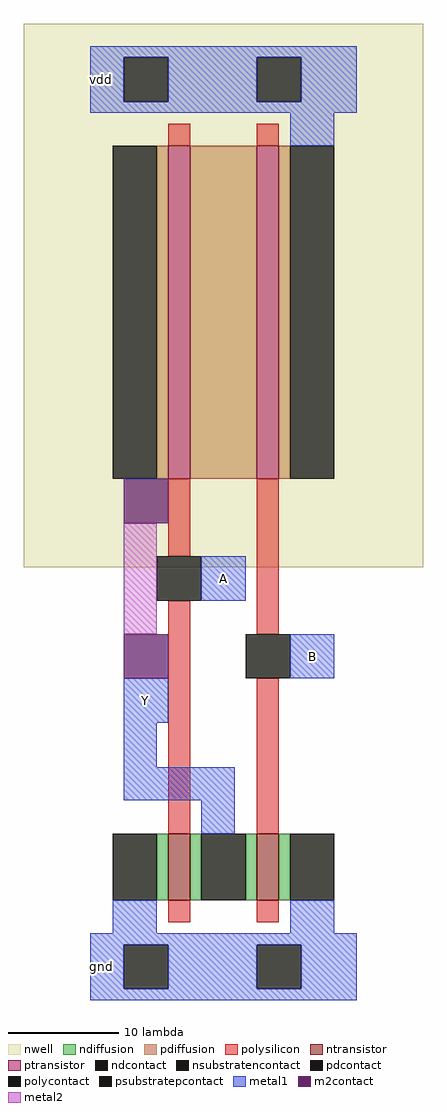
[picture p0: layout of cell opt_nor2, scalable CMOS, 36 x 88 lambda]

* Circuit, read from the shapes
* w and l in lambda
.subckt opt_nor2 A B Y vdd gnd
M1 Y A gnd gnd nfet w=6 l=2
M2 gnd B Y gnd nfet w=6 l=2
M3 n1 A Y vdd pfet w=30 l=2
M4 vdd B n1 vdd pfet w=30 l=2
.ends

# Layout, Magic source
magic
tech scmos
<< nwell >>
rect -6 36 30 85
<< ndiffusion >>
rect 6 6 7 12
rect 9 6 10 12
rect 14 6 15 12
rect 17 6 18 12
<< pdiffusion >>
rect 6 44 7 74
rect 9 44 15 74
rect 17 44 18 74
<< polysilicon >>
rect 7 4 9 6
rect 15 4 17 6
rect 7 12 9 33
rect 15 12 17 26
rect 15 30 17 44
rect 7 37 9 44
rect 7 74 9 76
rect 15 74 17 76
<< ntransistor >>
rect 7 6 9 12
rect 15 6 17 12
<< ptransistor >>
rect 7 44 9 74
rect 15 44 17 74
<< ndcontact >>
rect 2 6 6 12
rect 10 6 14 12
rect 18 6 22 12
<< pdcontact >>
rect 2 44 6 74
rect 18 44 22 74
<< polycontact >>
rect 14 26 18 30
rect 6 33 10 37
<< psubstratepcontact >>
rect 3 -2 7 2
rect 15 -2 19 2
<< nsubstratencontact >>
rect 3 78 7 82
rect 15 78 19 82
<< metal1 >>
rect 0 -3 24 -2
rect 0 -2 3 2
rect 7 -2 15 2
rect 19 -2 24 2
rect 0 2 24 3
rect 2 3 6 6
rect 18 3 22 6
rect 10 12 13 15
rect 3 15 13 18
rect 3 18 6 22
rect 3 22 7 26
rect 18 26 22 30
rect 10 33 14 37
rect 18 74 22 77
rect 0 77 24 78
rect 0 78 3 82
rect 7 78 15 82
rect 19 78 24 82
rect 0 82 24 83
<< m2contact >>
rect 3 26 7 30
rect 3 40 7 44
<< metal2 >>
rect 3 30 6 40
<< labels >>
rlabel metal1 s 10 33 14 37 0 A
port 1 nsew signal input
rlabel metal1 s 18 26 22 30 0 B
port 2 nsew signal input
rlabel metal1 s 3 22 7 26 0 Y
port 3 nsew signal output
rlabel metal1 s 0 77 2 83 0 vdd
port 4 nsew power bidirectional
rlabel metal1 s 0 -3 2 3 0 gnd
port 5 nsew ground bidirectional
<< properties >>
string FIXED_BBOX 0 0 24 80
<< end >>
